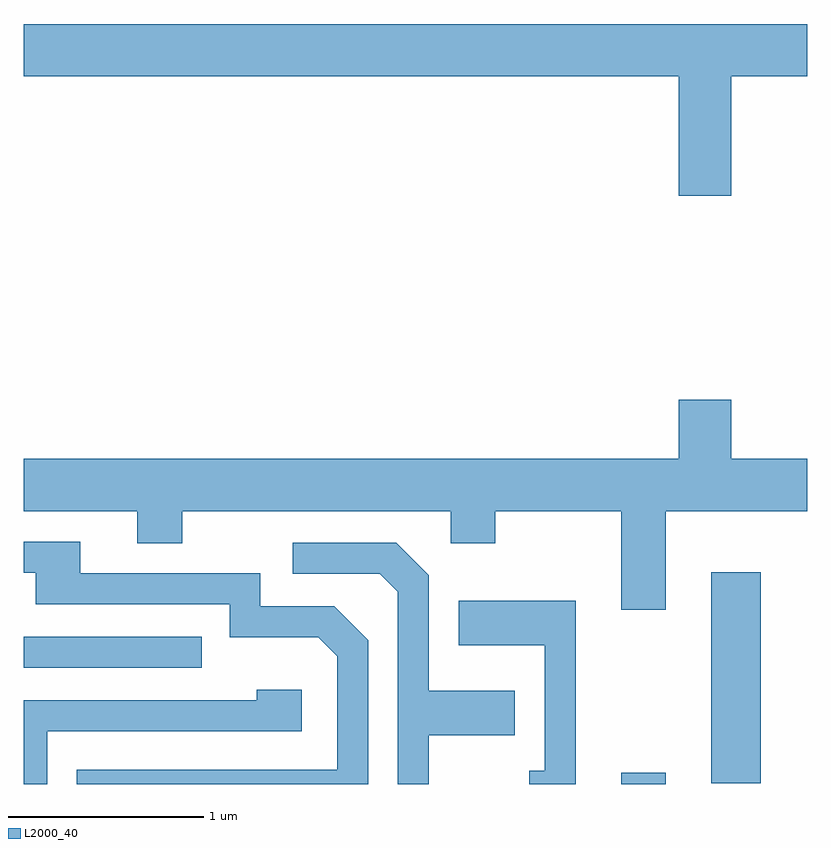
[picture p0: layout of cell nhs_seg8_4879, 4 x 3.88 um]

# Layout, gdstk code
import gdstk
lib = gdstk.Library(unit=1e-6, precision=1e-09)
def R(c, l, rs):  # rectangles x0, y0, x1, y1
    for r in rs: c.add(gdstk.rectangle(r[:2], r[2:], *l))
def P(c, l, *ps):  # polygons
    for p in ps: c.add(gdstk.Polygon(p, *l))
L2000_40 = (2000, 40)

nhs_seg8_4879 = lib.new_cell('nhs_seg8_4879')
R(nhs_seg8_4879, L2000_40, [(334.661,1848.342,334.889,1848.399), (335.121,1848.346,335.374,1849.424), (331.611,1848.936,332.518,1849.094)])
P(nhs_seg8_4879, L2000_40, [(335.224,1851.956),(335.611,1851.956),(335.611,1852.224),(331.611,1852.224),(331.611,1851.956),(334.956,1851.956),(334.956,1851.346),(335.224,1851.346)],
  [(334.889,1849.736),(335.611,1849.736),(335.611,1850.004),(335.224,1850.004),(335.224,1850.304),(334.956,1850.304),(334.956,1850.004),(331.611,1850.004),(331.611,1849.736),(332.191,1849.736),(332.191,1849.571),(332.419,1849.571),(332.419,1849.736),(333.791,1849.736),(333.791,1849.571),(334.019,1849.571),(334.019,1849.736),(334.661,1849.736),(334.661,1849.231),(334.889,1849.231)],
  [(333.369,1849.077),(333.197,1849.249),(332.819,1849.249),(332.819,1849.419),(331.899,1849.419),(331.899,1849.579),(331.611,1849.579),(331.611,1849.421),(331.671,1849.421),(331.671,1849.261),(332.661,1849.261),(332.661,1849.091),(333.114,1849.091),(333.211,1848.994),(333.211,1848.414),(331.881,1848.414),(331.881,1848.342),(333.369,1848.342)],
  [(333.679,1848.591),(334.119,1848.591),(334.119,1848.819),(333.679,1848.819),(333.679,1849.407),(333.512,1849.574),(332.983,1849.574),(332.983,1849.416),(333.429,1849.416),(333.521,1849.324),(333.521,1848.342),(333.679,1848.342)],
  [(334.429,1849.279),(333.831,1849.279),(333.831,1849.051),(334.271,1849.051),(334.271,1848.409),(334.193,1848.409),(334.193,1848.342),(334.429,1848.342)],
  [(331.729,1848.611),(333.029,1848.611),(333.029,1848.824),(332.801,1848.824),(332.801,1848.769),(331.611,1848.769),(331.611,1848.342),(331.729,1848.342)])

lib.write_gds('nhs_seg8_4879.gds')
